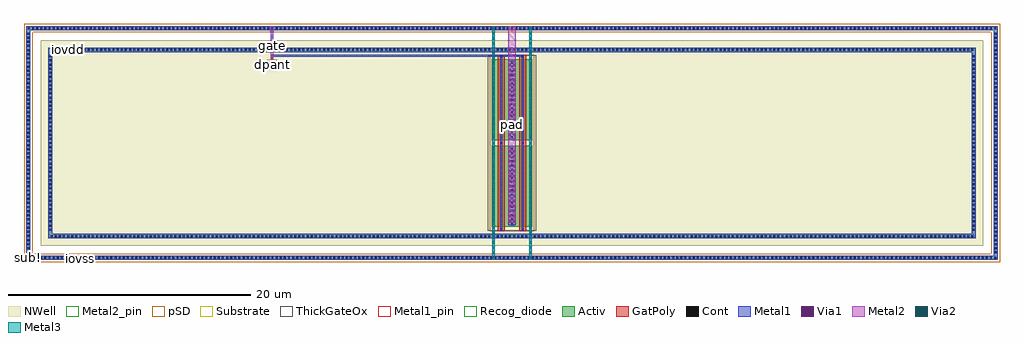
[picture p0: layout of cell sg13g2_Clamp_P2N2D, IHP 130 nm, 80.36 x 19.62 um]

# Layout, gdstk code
import gdstk
lib = gdstk.Library(unit=1e-6, precision=5e-09)
def R(c, l, rs):  # rectangles x0, y0, x1, y1
    for r in rs: c.add(gdstk.rectangle(r[:2], r[2:], *l))
def A(c, l, x, y, w, h, nx, ny, dx, dy):  # array of equal rectangles
    R(c, l, [(x+i*dx, y+j*dy, x+i*dx+w, y+j*dy+h) for i in range(nx) for j in range(ny)])
def P(c, l, *ps):  # polygons
    for p in ps: c.add(gdstk.Polygon(p, *l))
Activ = (1, 0)
GatPoly = (5, 0)
Cont = (6, 0)
Metal1 = (8, 0)
Metal1_pin = (8, 2)
Metal2 = (10, 0)
Metal2_pin = (10, 2)
pSD = (14, 0)
Via1 = (19, 0)
Via2 = (29, 0)
Metal3 = (30, 0)
NWell = (31, 0)
Substrate = (40, 0)
ThickGateOx = (44, 0)
Recog_diode = (99, 31)

sg13g2_clamp_p2n2d = lib.new_cell('sg13g2_Clamp_P2N2D')
R(sg13g2_clamp_p2n2d, Activ, [(38.34,2.75,41.66,9.41), (38.34,9.85,41.66,16.51), (20,15.83,20.48,16.31)])
P(sg13g2_clamp_p2n2d, Activ, [(1.8,1.8),(1.8,17.12),(2.14,17.12),(2.14,2.14),(77.86,2.14),(77.86,17.12),(1.8,17.12),(1.8,17.46),(78.2,17.46),(78.2,1.8)],
  [(0,0),(0,18.92),(0.34,18.92),(0.34,0.34),(79.66,0.34),(79.66,18.92),(0,18.92),(0,19.26),(80,19.26),(80,0)])
R(sg13g2_clamp_p2n2d, GatPoly, [(38.81,2.38,39.41,16.88), (40.59,2.38,41.19,16.88)])
A(sg13g2_clamp_p2n2d, Cont, 0.14, 0.09, 0.16, 0.16, 235, 2, 0.34, 18.92)
A(sg13g2_clamp_p2n2d, Cont, 0.09, 0.54, 0.16, 0.16, 1, 54, 0, 0.34)
A(sg13g2_clamp_p2n2d, Cont, 79.75, 0.54, 0.16, 0.16, 1, 54, 0, 0.34)
A(sg13g2_clamp_p2n2d, Cont, 2.01, 1.89, 0.16, 0.16, 224, 2, 0.34, 15.32)
A(sg13g2_clamp_p2n2d, Cont, 1.89, 2.41, 0.16, 0.16, 1, 43, 0, 0.34)
A(sg13g2_clamp_p2n2d, Cont, 77.95, 2.41, 0.16, 0.16, 1, 43, 0, 0.34)
A(sg13g2_clamp_p2n2d, Cont, 39.03, 2.45, 0.16, 0.16, 1, 3, 0, 7.1)
A(sg13g2_clamp_p2n2d, Cont, 40.81, 2.45, 0.16, 0.16, 1, 3, 0, 7.1)
A(sg13g2_clamp_p2n2d, Cont, 38.41, 2.94, 0.16, 0.16, 3, 19, 1.51, 0.34)
A(sg13g2_clamp_p2n2d, Cont, 38.41, 10.04, 0.16, 0.16, 3, 19, 1.51, 0.34)
R(sg13g2_clamp_p2n2d, Cont, [(20.16,15.99,20.32,16.15)])
R(sg13g2_clamp_p2n2d, Metal1, [(38.385,1.8,38.595,2.14), (41.405,1.8,41.615,2.14), (38.385,2.86,38.595,9.3), (39.69,2.86,40.31,9.3), (41.405,2.86,41.615,9.3), (38.385,9.96,38.595,16.4), (39.69,9.96,40.31,16.4), (41.405,9.96,41.615,16.4), (20.11,15.99,20.37,16.15), (38.385,17.12,38.595,17.46), (41.405,17.12,41.615,17.46)])
P(sg13g2_clamp_p2n2d, Metal1, [(1.8,1.8),(1.8,17.12),(2.14,17.12),(2.14,2.14),(77.86,2.14),(77.86,17.12),(1.8,17.12),(1.8,17.46),(78.2,17.46),(78.2,1.8)],
  [(0,0),(0,18.92),(0.34,18.92),(0.34,0.34),(79.66,0.34),(79.66,18.92),(0,18.92),(0,19.26),(80,19.26),(80,0)],
  [(39.03,2.37),(39.03,16.73),(20.345,16.73),(20.345,15.86),(20.135,15.86),(20.135,16.89),(40.97,16.89),(40.97,2.37),(40.81,2.37),(40.81,16.73),(39.19,16.73),(39.19,2.37)])
R(sg13g2_clamp_p2n2d, Metal1_pin, [(3.73,0.04,5.15,0.27), (20.11,15.99,20.37,16.15), (2.55,17.15,4.13,17.41)])
R(sg13g2_clamp_p2n2d, Metal2, [(38.39,0,38.59,19.26), (41.41,0,41.61,19.26), (39.695,3.065,40.305,19.26), (20.14,16.025,20.34,19.26)])
R(sg13g2_clamp_p2n2d, Metal2_pin, [(39.695,3.065,40.305,19.26), (20.14,16.025,20.34,19.26)])
R(sg13g2_clamp_p2n2d, pSD, [(38.16,2.35,41.84,16.91), (19.82,15.65,20.66,16.49)])
P(sg13g2_clamp_p2n2d, pSD, [(-0.18,-0.18),(-0.18,18.74),(0.52,18.74),(0.52,0.52),(79.48,0.52),(79.48,18.74),(-0.18,18.74),(-0.18,19.44),(80.18,19.44),(80.18,-0.18)])
A(sg13g2_clamp_p2n2d, Via1, 38.395, 3.115, 0.19, 0.19, 1, 15, 0, 0.41)
A(sg13g2_clamp_p2n2d, Via1, 39.7, 3.115, 0.19, 0.19, 1, 15, 0, 0.41)
A(sg13g2_clamp_p2n2d, Via1, 40.11, 3.115, 0.19, 0.19, 1, 15, 0, 0.41)
A(sg13g2_clamp_p2n2d, Via1, 41.415, 3.115, 0.19, 0.19, 1, 15, 0, 0.41)
A(sg13g2_clamp_p2n2d, Via1, 38.395, 10.215, 0.19, 0.19, 1, 15, 0, 0.41)
A(sg13g2_clamp_p2n2d, Via1, 39.7, 10.215, 0.19, 0.19, 1, 15, 0, 0.41)
A(sg13g2_clamp_p2n2d, Via1, 40.11, 10.215, 0.19, 0.19, 1, 15, 0, 0.41)
A(sg13g2_clamp_p2n2d, Via1, 41.415, 10.215, 0.19, 0.19, 1, 15, 0, 0.41)
R(sg13g2_clamp_p2n2d, Via1, [(38.395,1.875,38.585,2.065), (41.415,1.875,41.605,2.065), (20.145,16.075,20.335,16.265), (20.145,16.485,20.335,16.675), (38.395,17.195,38.585,17.385), (41.415,17.195,41.605,17.385)])
A(sg13g2_clamp_p2n2d, Via2, 38.395, 0.105, 0.19, 0.19, 1, 47, 0, 0.41)
A(sg13g2_clamp_p2n2d, Via2, 41.415, 0.105, 0.19, 0.19, 1, 47, 0, 0.41)
R(sg13g2_clamp_p2n2d, Metal3, [(38.39,0.055,38.59,19.205), (41.41,0.055,41.61,19.205)])
R(sg13g2_clamp_p2n2d, NWell, [(1.18,1.18,78.82,18.08), (37.72,2.13,42.28,17.13)])
P(sg13g2_clamp_p2n2d, Substrate, [(0,0),(0,18.92),(0.34,18.92),(0.34,0.34),(79.66,0.34),(79.66,18.92),(0,18.92),(0,19.26),(80,19.26),(80,0)])
R(sg13g2_clamp_p2n2d, ThickGateOx, [(38,2.41,42,16.85)])
R(sg13g2_clamp_p2n2d, Recog_diode, [(19.98,15.81,20.5,16.33)])
sg13g2_clamp_p2n2d.add(gdstk.Label('gate', (20.24,17.645), layer=10, texttype=25))
sg13g2_clamp_p2n2d.add(gdstk.Label('pad', (40,11.165), layer=10, texttype=25))
sg13g2_clamp_p2n2d.add(gdstk.Label('sub!', (0.17,0.17), layer=63, texttype=0))
sg13g2_clamp_p2n2d.add(gdstk.Label('dpant', (20.24,16.07), layer=63, texttype=0))
sg13g2_clamp_p2n2d.add(gdstk.Label('iovss', (4.44,0.14), layer=8, texttype=25))
sg13g2_clamp_p2n2d.add(gdstk.Label('iovdd', (3.48,17.3), layer=8, texttype=25))

lib.write_gds('sg13g2_Clamp_P2N2D.gds')
